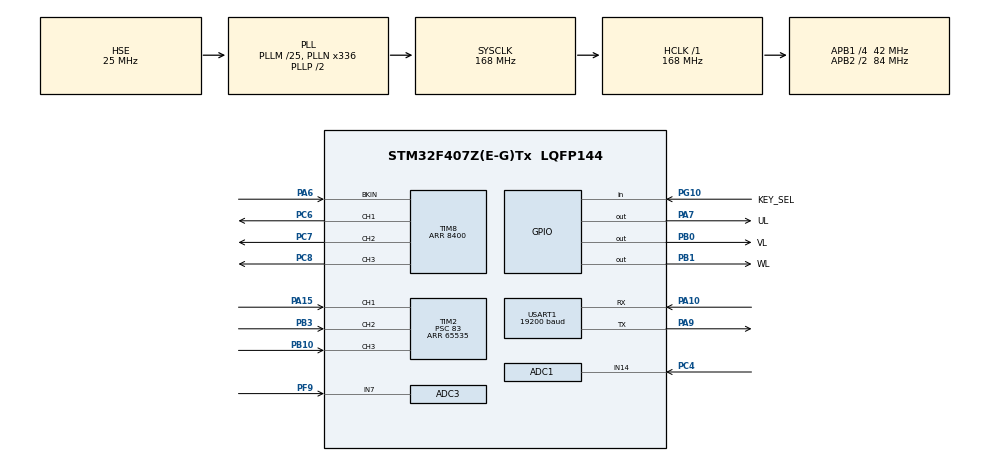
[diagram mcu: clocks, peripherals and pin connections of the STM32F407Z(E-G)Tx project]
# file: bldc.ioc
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ADC1.Channel-0\#ChannelRegularConversion=ADC_CHANNEL_14
ADC1.ContinuousConvMode=ENABLE
ADC1.DMAContinuousRequests=ENABLE
ADC1.NbrOfConversionFlag=1
ADC1.Rank-0\#ChannelRegularConversion=1
ADC1.SamplingTime-0\#ChannelRegularConversion=ADC_SAMPLETIME_3CYCLES
ADC1.master=1
ADC3.Channel-0\#ChannelRegularConversion=ADC_CHANNEL_7
ADC3.DMAContinuousRequests=ENABLE
ADC3.NbrOfConversionFlag=1
ADC3.Rank-0\#ChannelRegularConversion=1
ADC3.SamplingTime-0\#ChannelRegularConversion=ADC_SAMPLETIME_3CYCLES
Dma.ADC1.1.Direction=DMA_PERIPH_TO_MEMORY
Dma.ADC1.1.FIFOMode=DMA_FIFOMODE_DISABLE
Dma.ADC1.1.Instance=DMA2_Stream0
Dma.ADC1.1.MemDataAlignment=DMA_MDATAALIGN_HALFWORD
Dma.ADC1.1.MemInc=DMA_MINC_ENABLE
Dma.ADC1.1.Mode=DMA_CIRCULAR
Dma.ADC1.1.PeriphDataAlignment=DMA_PDATAALIGN_HALFWORD
Dma.ADC1.1.PeriphInc=DMA_PINC_DISABLE
Dma.ADC1.1.Priority=DMA_PRIORITY_HIGH
Dma.ADC3.0.Direction=DMA_PERIPH_TO_MEMORY
Dma.ADC3.0.FIFOMode=DMA_FIFOMODE_DISABLE
Dma.ADC3.0.Instance=DMA2_Stream1
Dma.ADC3.0.MemDataAlignment=DMA_MDATAALIGN_HALFWORD
Dma.ADC3.0.MemInc=DMA_MINC_ENABLE
Dma.ADC3.0.Mode=DMA_CIRCULAR
Dma.ADC3.0.PeriphDataAlignment=DMA_PDATAALIGN_HALFWORD
Dma.ADC3.0.PeriphInc=DMA_PINC_DISABLE
Dma.ADC3.0.Priority=DMA_PRIORITY_HIGH
Dma.Request0=ADC3
Dma.Request1=ADC1
Mcu.Family=STM32F4
Mcu.Name=STM32F407Z(E-G)Tx
Mcu.Package=LQFP144
NVIC.DMA2_Stream0_IRQn=true\:0\:0\:false\:false\:true\:false\:true\:true
NVIC.DMA2_Stream1_IRQn=true\:0\:0\:false\:false\:true\:false\:true\:true
NVIC.PriorityGroup=NVIC_PRIORITYGROUP_4
NVIC.TIM2_IRQn=true\:0\:0\:false\:false\:true\:true\:true\:true
NVIC.TIM3_IRQn=true\:0\:0\:false\:false\:true\:true\:true\:true
NVIC.TIM8_BRK_TIM12_IRQn=true\:0\:0\:false\:false\:true\:true\:true\:true
NVIC.USART1_IRQn=true\:0\:0\:false\:false\:true\:true\:true\:true
PA10.Mode=Asynchronous
PA10.Signal=USART1_RX
PA13.Mode=Serial_Wire
PA13.Signal=SYS_JTMS-SWDIO
PA14.Mode=Serial_Wire
PA14.Signal=SYS_JTCK-SWCLK
PA15.Signal=S_TIM2_CH1_ETR
PA6.Mode=Activate-Break-Input
PA6.Signal=TIM8_BKIN
PA7.GPIO_Label=UL
PA7.GPIO_PuPd=GPIO_PULLUP
PA7.GPIO_Speed=GPIO_SPEED_FREQ_VERY_HIGH
PA7.Signal=GPIO_Output
PA9.Mode=Asynchronous
PA9.Signal=USART1_TX
PB0.GPIO_Label=VL
PB0.GPIO_PuPd=GPIO_PULLUP
PB0.GPIO_Speed=GPIO_SPEED_FREQ_VERY_HIGH
PB0.Signal=GPIO_Output
PB1.GPIO_Label=WL
PB1.GPIO_PuPd=GPIO_PULLUP
PB1.GPIO_Speed=GPIO_SPEED_FREQ_VERY_HIGH
PB1.Signal=GPIO_Output
PB10.Signal=S_TIM2_CH3
PB3.Signal=S_TIM2_CH2
PC4.Signal=ADCx_IN14
PC6.GPIO_Speed=GPIO_SPEED_FREQ_VERY_HIGH
PC6.Signal=S_TIM8_CH1
PC7.GPIO_Speed=GPIO_SPEED_FREQ_VERY_HIGH
PC7.Signal=S_TIM8_CH2
PC8.GPIO_Speed=GPIO_SPEED_FREQ_VERY_HIGH
PC8.Signal=S_TIM8_CH3
PF9.Mode=IN7
PF9.Signal=ADC3_IN7
PG10.GPIO_Label=KEY_SEL
PG10.GPIO_PuPd=GPIO_PULLUP
PG10.Signal=GPIO_Input
PH0-OSC_IN.Mode=HSE-External-Oscillator
PH0-OSC_IN.Signal=RCC_OSC_IN
PH1-OSC_OUT.Mode=HSE-External-Oscillator
PH1-OSC_OUT.Signal=RCC_OSC_OUT
ProjectManager.HeapSize=0x200
ProjectManager.StackSize=0x400
ProjectManager.TargetToolchain=STM32CubeIDE
RCC.48MHZClocksFreq_Value=84000000
RCC.AHBFreq_Value=168000000
RCC.APB1CLKDivider=RCC_HCLK_DIV4
RCC.APB1Freq_Value=42000000
RCC.APB1TimFreq_Value=84000000
RCC.APB2CLKDivider=RCC_HCLK_DIV2
RCC.APB2Freq_Value=84000000
RCC.APB2TimFreq_Value=168000000
RCC.CortexFreq_Value=168000000
RCC.HCLKFreq_Value=168000000
RCC.HSE_VALUE=25000000
RCC.HSI_VALUE=16000000
RCC.LSE_VALUE=32768
RCC.PLLM=25
RCC.PLLN=336
RCC.PLLSourceVirtual=RCC_PLLSOURCE_HSE
RCC.SYSCLKFreq_VALUE=168000000
RCC.SYSCLKSource=RCC_SYSCLKSOURCE_PLLCLK
RCC.VCOOutputFreq_Value=336000000
SH.ADCx_IN14.0=ADC1_IN14,IN14
SH.S_TIM2_CH1_ETR.0=TIM2_CH1,Input_Capture1_from_TI1
SH.S_TIM2_CH2.0=TIM2_CH2,Input_Capture2_from_TI2
SH.S_TIM2_CH3.0=TIM2_CH3,Input_Capture3_from_TI3
SH.S_TIM8_CH1.0=TIM8_CH1,PWM Generation1 CH1
SH.S_TIM8_CH2.0=TIM8_CH2,PWM Generation2 CH2
SH.S_TIM8_CH3.0=TIM8_CH3,PWM Generation3 CH3
TIM2.AutoReloadPreload=TIM_AUTORELOAD_PRELOAD_ENABLE
TIM2.Channel-Input_Capture1_from_TI1=TIM_CHANNEL_1
TIM2.Channel-Input_Capture2_from_TI2=TIM_CHANNEL_2
TIM2.Channel-Input_Capture3_from_TI3=TIM_CHANNEL_3
TIM2.ICPolarity_CH1=TIM_INPUTCHANNELPOLARITY_BOTHEDGE
TIM2.ICPolarity_CH2=TIM_INPUTCHANNELPOLARITY_BOTHEDGE
TIM2.ICPolarity_CH3=TIM_INPUTCHANNELPOLARITY_BOTHEDGE
TIM2.Period=65535
TIM2.Prescaler=83
TIM3.AutoReloadPreload=TIM_AUTORELOAD_PRELOAD_ENABLE
TIM3.Period=99
TIM3.Prescaler=839
TIM8.AutoReloadPreload=TIM_AUTORELOAD_PRELOAD_ENABLE
TIM8.BreakPolarity=TIM_BREAKPOLARITY_LOW
TIM8.Channel-PWM\ Generation1\ CH1=TIM_CHANNEL_1
TIM8.Channel-PWM\ Generation2\ CH2=TIM_CHANNEL_2
TIM8.Channel-PWM\ Generation3\ CH3=TIM_CHANNEL_3
TIM8.OffStateIDLEMode=TIM_OSSI_ENABLE
TIM8.OffStateRunMode=TIM_OSSR_ENABLE
TIM8.Period=8400
USART1.BaudRate=19200
USART1.VirtualMode=VM_ASYNC
VP_TIM2_VS_ClockSourceINT.Mode=Internal
VP_TIM3_VS_ClockSourceINT.Mode=Internal
VP_TIM8_VS_ClockSourceINT.Mode=Internal
board=custom

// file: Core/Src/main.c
#include "main.h"
#include "adc.h"
#include "dma.h"
#include "tim.h"
#include "usart.h"
#include "gpio.h"

/* USER CODE BEGIN Includes */
#include "stm32_2.8_lcd.h"
#include "pid.h"
#include <stdio.h>
#include <string.h>
/* USER CODE END Includes */

/* USER CODE BEGIN PD */
#define KP 2
#define TI 50
#define TD 0
/* USER CODE END PD */

/* USER CODE BEGIN PV */
uint8_t hall_a = 0;
uint8_t hall_b = 0;
uint8_t hall_c = 0;
uint16_t duty_cycle = 0;
uint8_t key_value = 0;
uint8_t isInterruptEnabled = 0;
uint8_t isBreakEnabled = 0;
uint8_t isTimerStarted = 0;
uint8_t HallStatus = 0;

uint32_t speed_counter = 0;
uint32_t speed_timer = 0;

uint16_t output = 0;

double actual_vel = 0;
double target_vel = 0;
double voltage = 0;
/* USER CODE END PV */

void SystemClock_Config(void);

int main(void)
{

  /* MCU Configuration--------------------------------------------------------*/

  /* Reset of all peripherals, Initializes the Flash interface and the Systick. */
  HAL_Init();

  /* Configure the system clock */
  SystemClock_Config();

  /* Initialize all configured peripherals */
  MX_GPIO_Init();
  MX_DMA_Init();
  MX_ADC3_Init();
  MX_ADC1_Init();
  MX_TIM2_Init();
  MX_TIM8_Init();
  MX_TIM3_Init();
  MX_USART1_UART_Init();
  /* USER CODE BEGIN 2 */
  HAL_TIM_Base_Start_IT(&htim3);
  STM32_LCD_Init();
  LCD_Clear(BackColor);
  LCD_SetTextColor(Blue);
  __HAL_TIM_ENABLE_IT(&htim8, TIM_IT_BREAK);
  HAL_TIM_IC_Start_IT(&htim2, TIM_CHANNEL_1);
  HAL_TIM_IC_Start_IT(&htim2, TIM_CHANNEL_2);
  HAL_TIM_IC_Start_IT(&htim2, TIM_CHANNEL_3);
  /* USER CODE END 2 */

  /* Infinite loop */
  while (1)
  {

    /* USER CODE BEGIN 3 */
    HAL_ADC_Start(&hadc3);
    HAL_ADC_PollForConversion(&hadc3, 50);
    if (HAL_IS_BIT_SET(HAL_ADC_GetState(&hadc3), HAL_ADC_STATE_REG_EOC))
    {
      // duty_cycle = HAL_ADC_GetValue(&hadc3) * 8399 / 4095;
      target_vel = HAL_ADC_GetValue(&hadc3) * 4600 / 4095;
    }

    HAL_ADC_Start(&hadc1);
    HAL_ADC_PollForConversion(&hadc1, 50);
    if (HAL_IS_BIT_SET(HAL_ADC_GetState(&hadc1), HAL_ADC_STATE_REG_EOC))
    {
      voltage = HAL_ADC_GetValue(&hadc1) * 3.3 / 4095;
      voltage = voltage * (7.2 + 560 + 560) / 7.2;
    }

    LCD_DisplayStringLine(Line0, "Target Speed: ");
    LCD_Draw_NUM(0, 140, target_vel);
    LCD_DisplayStringLine(Line1, "Key Value: ");
    LCD_Draw_NUM(25, 140, key_value);
    LCD_DisplayStringLine(Line2, "Break: ");
    LCD_Draw_NUM(50, 140, isBreakEnabled);
    LCD_DisplayStringLine(Line3, "Hall Status: ");
    LCD_Draw_NUM(75, 140, HallStatus);
    LCD_DisplayStringLine(Line4, "Speed: ");
    LCD_Draw_NUM(100, 140, actual_vel);
    LCD_DisplayStringLine(Line5, "Voltage: ");
    LCD_Draw_NUM(125, 140, voltage);
    LCD_DisplayStringLine(Line6, "isTimerStarted: ");
    LCD_Draw_NUM(150, 140, isTimerStarted);
    LCD_DisplayStringLine(Line7, "PID Output: ");
    LCD_Draw_NUM(175, 140, output);

    // if (HAL_GPIO_ReadPin(KEY_SEL_GPIO_Port, KEY_SEL_Pin) == GPIO_PIN_RESET)
    // {
    //   HAL_Delay(50);
    //   if (HAL_GPIO_ReadPin(KEY_SEL_GPIO_Port, KEY_SEL_Pin) == GPIO_PIN_RESET)
    //   {
    //     key_value = !key_value;
    //   }
    // }
    // if (key_value == 1)
    // {
    //   Set_Speed(duty_cycle);
    // }
    // else
    // {
    //   HAL_TIM_PWM_Stop(&htim8, TIM_CHANNEL_1);
    //   HAL_TIM_PWM_Stop(&htim8, TIM_CHANNEL_2);
    //   HAL_TIM_PWM_Stop(&htim8, TIM_CHANNEL_3);
    // }

    output = pid_controller(target_vel, actual_vel, KP, TI, TD);
    Set_Speed(output);
    printf("%d,%d\n", (int)actual_vel, (int)target_vel);
  }
  /* USER CODE END 3 */
}

void SystemClock_Config(void)
{
  RCC_OscInitTypeDef RCC_OscInitStruct = {0};
  RCC_ClkInitTypeDef RCC_ClkInitStruct = {0};

  /** Configure the main internal regulator output voltage
  */
  __HAL_RCC_PWR_CLK_ENABLE();
  __HAL_PWR_VOLTAGESCALING_CONFIG(PWR_REGULATOR_VOLTAGE_SCALE1);

  /** Initializes the RCC Oscillators according to the specified parameters
  * in the RCC_OscInitTypeDef structure.
  */
  RCC_OscInitStruct.OscillatorType = RCC_OSCILLATORTYPE_HSE;
  RCC_OscInitStruct.HSEState = RCC_HSE_ON;
  RCC_OscInitStruct.PLL.PLLState = RCC_PLL_ON;
  RCC_OscInitStruct.PLL.PLLSource = RCC_PLLSOURCE_HSE;
  RCC_OscInitStruct.PLL.PLLM = 25;
  RCC_OscInitStruct.PLL.PLLN = 336;
  RCC_OscInitStruct.PLL.PLLP = RCC_PLLP_DIV2;
  RCC_OscInitStruct.PLL.PLLQ = 4;
  if (HAL_RCC_OscConfig(&RCC_OscInitStruct) != HAL_OK)
  {
    Error_Handler();
  }

  /** Initializes the CPU, AHB and APB buses clocks
  */
  RCC_ClkInitStruct.ClockType = RCC_CLOCKTYPE_HCLK|RCC_CLOCKTYPE_SYSCLK
                              |RCC_CLOCKTYPE_PCLK1|RCC_CLOCKTYPE_PCLK2;
  RCC_ClkInitStruct.SYSCLKSource = RCC_SYSCLKSOURCE_PLLCLK;
  RCC_ClkInitStruct.AHBCLKDivider = RCC_SYSCLK_DIV1;
  RCC_ClkInitStruct.APB1CLKDivider = RCC_HCLK_DIV4;
  RCC_ClkInitStruct.APB2CLKDivider = RCC_HCLK_DIV2;

  if (HAL_RCC_ClockConfig(&RCC_ClkInitStruct, FLASH_LATENCY_5) != HAL_OK)
  {
    Error_Handler();
  }
}

/* USER CODE BEGIN 4 */
void HAL_TIM_IC_CaptureCallback(TIM_HandleTypeDef *htim)
{
  if (htim->Instance == TIM2)
  {
    speed_counter++;
    isInterruptEnabled = 1;
    // Read the status of the hall sensors
    if (HAL_GPIO_ReadPin(GPIOA, GPIO_PIN_15) == GPIO_PIN_SET)
    {
      hall_a = 1;
    }
    else
    {
      hall_a = 0;
    }
    if (HAL_GPIO_ReadPin(GPIOB, GPIO_PIN_3) == GPIO_PIN_SET)
    {
      hall_b = 1;
    }
    else
    {
      hall_b = 0;
    }
    if (HAL_GPIO_ReadPin(GPIOB, GPIO_PIN_10) == GPIO_PIN_SET)
    {
      hall_c = 1;
    }
    else
    {
      hall_c = 0;
    }

    // Phase change based on the hall sensor status
    if (hall_a == 1 && hall_b == 0 && hall_c == 1)
    {
      HallStatus = 1;
      // Timer 8
      HAL_TIM_PWM_Start(&htim8, TIM_CHANNEL_1); // TIM8_CH1_ON;
      HAL_TIM_PWM_Stop(&htim8, TIM_CHANNEL_2);  // TIM8_CH2_OFF;
      HAL_TIM_PWM_Stop(&htim8, TIM_CHANNEL_3);  // TIM8_CH3_OFF;
      // GPIO
      HAL_GPIO_WritePin(UL_GPIO_Port, UL_Pin, GPIO_PIN_RESET); // UL_OFF;
      HAL_GPIO_WritePin(VL_GPIO_Port, VL_Pin, GPIO_PIN_SET);   // VL_ON;
      HAL_GPIO_WritePin(WL_GPIO_Port, WL_Pin, GPIO_PIN_RESET); // WL_OFF;
    }
    if (hall_a == 1 && hall_b == 0 && hall_c == 0)
    {
      HallStatus = 2;
      // Timer 8
      HAL_TIM_PWM_Start(&htim8, TIM_CHANNEL_1); // TIM8_CH1_ON;
      HAL_TIM_PWM_Stop(&htim8, TIM_CHANNEL_2);  // TIM8_CH2_OFF;
      HAL_TIM_PWM_Stop(&htim8, TIM_CHANNEL_3);  // TIM8_CH3_OFF;
      // GPIO
      HAL_GPIO_WritePin(UL_GPIO_Port, UL_Pin, GPIO_PIN_RESET); // UL_OFF;
      HAL_GPIO_WritePin(VL_GPIO_Port, VL_Pin, GPIO_PIN_RESET); // VL_OFF;
      HAL_GPIO_WritePin(WL_GPIO_Port, WL_Pin, GPIO_PIN_SET);   // WL_ON;
    }
    if (hall_a == 1 && hall_b == 1 && hall_c == 0)
    {
      HallStatus = 3;
      // Timer 8
      HAL_TIM_PWM_Stop(&htim8, TIM_CHANNEL_1);  // TIM8_CH1_OFF;
      HAL_TIM_PWM_Start(&htim8, TIM_CHANNEL_2); // TIM8_CH2_ON;
      HAL_TIM_PWM_Stop(&htim8, TIM_CHANNEL_3);  // TIM8_CH3_OFF;
      // GPIO
      HAL_GPIO_WritePin(UL_GPIO_Port, UL_Pin, GPIO_PIN_RESET); // UL_OFF;
      HAL_GPIO_WritePin(VL_GPIO_Port, VL_Pin, GPIO_PIN_RESET); // VL_OFF;
      HAL_GPIO_WritePin(WL_GPIO_Port, WL_Pin, GPIO_PIN_SET);   // WL_ON;
    }
    if (hall_a == 0 && hall_b == 1 && hall_c == 0)
    {
      HallStatus = 4;
      // Timer 8
      HAL_TIM_PWM_Stop(&htim8, TIM_CHANNEL_1);  // TIM8_CH1_OFF;
      HAL_TIM_PWM_Start(&htim8, TIM_CHANNEL_2); // TIM8_CH2_ON;
      HAL_TIM_PWM_Stop(&htim8, TIM_CHANNEL_3);  // TIM8_CH3_OFF;
      // GPIO
      HAL_GPIO_WritePin(UL_GPIO_Port, UL_Pin, GPIO_PIN_SET);   // UL_ON;
      HAL_GPIO_WritePin(VL_GPIO_Port, VL_Pin, GPIO_PIN_RESET); // VL_OFF;
      HAL_GPIO_WritePin(WL_GPIO_Port, WL_Pin, GPIO_PIN_RESET); // WL_OFF;
    }
    if (hall_a == 0 && hall_b == 1 && hall_c == 1)
    {
      HallStatus = 5;
      // Timer 8
      HAL_TIM_PWM_Stop(&htim8, TIM_CHANNEL_1);  // TIM8_CH1_OFF;
      HAL_TIM_PWM_Stop(&htim8, TIM_CHANNEL_2);  // TIM8_CH2_OFF;
      HAL_TIM_PWM_Start(&htim8, TIM_CHANNEL_3); // TIM8_CH3_ON;
      // GPIO
      HAL_GPIO_WritePin(UL_GPIO_Port, UL_Pin, GPIO_PIN_SET);   // UL_ON;
      HAL_GPIO_WritePin(VL_GPIO_Port, VL_Pin, GPIO_PIN_RESET); // VL_OFF;
      HAL_GPIO_WritePin(WL_GPIO_Port, WL_Pin, GPIO_PIN_RESET); // WL_OFF;
    }
    if (hall_a == 0 && hall_b == 0 && hall_c == 1)
    {
      HallStatus = 6;
      // Timer 8
      HAL_TIM_PWM_Stop(&htim8, TIM_CHANNEL_1);  // TIM8_CH1_OFF;
      HAL_TIM_PWM_Stop(&htim8, TIM_CHANNEL_2);  // TIM8_CH2_OFF;
      HAL_TIM_PWM_Start(&htim8, TIM_CHANNEL_3); // TIM8_CH3_ON;
      // GPIO
      HAL_GPIO_WritePin(UL_GPIO_Port, UL_Pin, GPIO_PIN_RESET); // UL_OFF;
      HAL_GPIO_WritePin(VL_GPIO_Port, VL_Pin, GPIO_PIN_SET);   // VL_ON;
      HAL_GPIO_WritePin(WL_GPIO_Port, WL_Pin, GPIO_PIN_RESET); // WL_OFF;
    }
  }
}

void HAL_TIMEx_BreakCallback(TIM_HandleTypeDef *htim)
{
  if (htim->Instance == TIM8)
  {
    isBreakEnabled = 1;
    // TIM8_CH1_OFF;
    HAL_TIM_PWM_Stop(&htim8, TIM_CHANNEL_1);
    // TIM8_CH2_OFF;
    HAL_TIM_PWM_Stop(&htim8, TIM_CHANNEL_2);
    // TIM8_CH3_OFF;
    HAL_TIM_PWM_Stop(&htim8, TIM_CHANNEL_3);
    // UL_OFF;
    HAL_GPIO_WritePin(UL_GPIO_Port, UL_Pin, GPIO_PIN_RESET);
    // VL_OFF;
    HAL_GPIO_WritePin(VL_GPIO_Port, VL_Pin, GPIO_PIN_RESET);
    // WL_OFF;
    HAL_GPIO_WritePin(WL_GPIO_Port, WL_Pin, GPIO_PIN_RESET);

    __HAL_TIM_DISABLE_IT(&htim8, TIM_IT_BREAK);
  }
}

void HAL_TIM_PeriodElapsedCallback(TIM_HandleTypeDef *htim)
{
  if (htim->Instance == TIM3)
  {
    isTimerStarted = 1;
    speed_timer++;
    if (speed_timer >= 50)
    {
      actual_vel = speed_counter * 60.0 * 60.0 / 360.0 / 4.0 / (50 * 0.001);
      speed_counter = 0;
      speed_timer = 0;
    }
  }
}

// void HAL_UART_RxCpltCallback(UART_HandleTypeDef *huart)
// {
//   if (huart->Instance == USART1)
//   {
//     HAL_UART_Receive_IT(&huart1, &key_value, 1);
//   }
// }

void Set_Speed(uint16_t dutycycle)
{
  __HAL_TIM_SET_COMPARE(&htim8, TIM_CHANNEL_1, dutycycle);
  __HAL_TIM_SET_COMPARE(&htim8, TIM_CHANNEL_2, dutycycle);
  __HAL_TIM_SET_COMPARE(&htim8, TIM_CHANNEL_3, dutycycle);
}
/* USER CODE END 4 */

void Error_Handler(void)
{
  __disable_irq();
  while (1)
  {
  }
}
